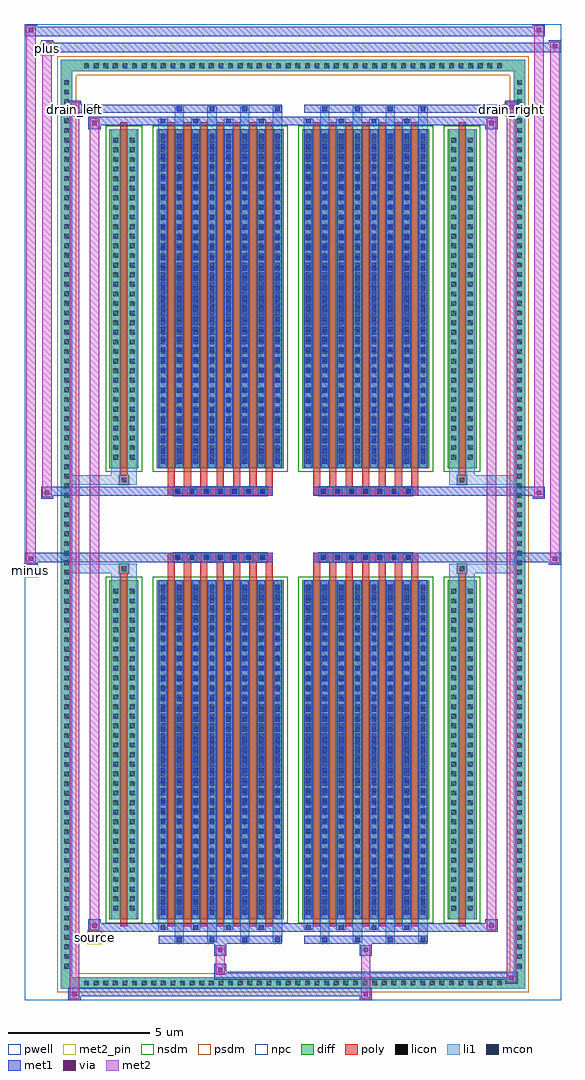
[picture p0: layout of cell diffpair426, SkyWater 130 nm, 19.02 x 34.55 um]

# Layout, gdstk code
import gdstk
lib = gdstk.Library(unit=1e-6, precision=5e-09)
def R(c, l, rs):  # rectangles x0, y0, x1, y1
    for r in rs: c.add(gdstk.rectangle(r[:2], r[2:], *l))
def A(c, l, x, y, w, h, nx, ny, dx, dy):  # array of equal rectangles
    R(c, l, [(x+i*dx, y+j*dy, x+i*dx+w, y+j*dy+h) for i in range(nx) for j in range(ny)])
def P(c, l, *ps):  # polygons
    for p in ps: c.add(gdstk.Polygon(p, *l))
pwell = (64, 44)
diff = (65, 20)
poly = (66, 20)
licon = (66, 44)
li1 = (67, 20)
mcon = (67, 44)
met1 = (68, 20)
via = (68, 44)
met2_pin = (69, 16)
met2 = (69, 20)
nsdm = (93, 44)
psdm = (94, 20)
npc = (95, 20)

diffpair426 = lib.new_cell('diffpair426')
R(diffpair426, pwell, [(-9.49,-16.84,9.49,17.71), (-6.81,-15.03,-0.01,-0.805), (0.01,-15.03,6.81,-0.805), (-6.81,0.805,-0.01,15.03), (0.01,0.805,6.81,15.03)])
A(diffpair426, diff, -7.515, -16.44, 0.41, 0.41, 44, 2, 0.34, 32.47)
A(diffpair426, diff, -8.22, -15.845, 0.41, 0.41, 1, 93, 0, 0.34)
A(diffpair426, diff, 7.81, -15.845, 0.41, 0.41, 1, 93, 0, 0.34)
R(diffpair426, diff, [(-7.515,-16.44,7.515,-16.03), (-8.22,-15.845,-7.81,15.845), (7.81,-15.845,8.22,15.845), (-6.5,-13.985,-5.47,-1.985), (-4.83,-13.985,-0.32,-1.985), (0.32,-13.985,4.83,-1.985), (5.47,-13.985,6.5,-1.985), (-6.5,1.985,-5.47,13.985), (-4.83,1.985,-0.32,13.985), (0.32,1.985,4.83,13.985), (5.47,1.985,6.5,13.985), (-7.515,16.03,7.515,16.44)])
P(diffpair426, diff, [(8.22,16.44),(-8.22,16.44),(-8.22,-16.03),(-7.81,-16.03),(-7.81,16.03),(7.81,16.03),(7.81,-16.03),(-7.81,-16.03),(-8.22,-16.03),(-8.22,-16.44),(8.22,-16.44)])
A(diffpair426, poly, -4.44, -14.235, 0.25, 12.5, 7, 2, 0.58, 15.97)
A(diffpair426, poly, 0.71, -14.235, 0.25, 12.5, 7, 2, 0.58, 15.97)
A(diffpair426, poly, -4.44, -1.735, 0.25, 0.4, 7, 2, 0.58, 3.07)
A(diffpair426, poly, 0.71, -1.735, 0.25, 0.4, 7, 2, 0.58, 3.07)
A(diffpair426, poly, -4.24, -1.335, 0.33, 0.33, 7, 2, 0.5, 2.34)
A(diffpair426, poly, 0.91, -1.335, 0.33, 0.33, 7, 2, 0.5, 2.34)
R(diffpair426, poly, [(-6.11,-14.235,-5.86,-1.735), (5.86,-14.235,6.11,-1.735), (-6.15,-1.735,-5.82,-1.405), (-6.15,-1.735,-5.82,-1.405), (5.82,-1.735,6.15,-1.405), (5.82,-1.735,6.15,-1.405), (-4.44,-1.335,-0.71,-1.005), (0.71,-1.335,4.44,-1.005), (-4.44,1.005,-0.71,1.335), (0.71,1.005,4.44,1.335), (-6.15,1.405,-5.82,1.735), (-6.15,1.405,-5.82,1.735), (5.82,1.405,6.15,1.735), (5.82,1.405,6.15,1.735), (-6.11,1.735,-5.86,14.235), (5.86,1.735,6.11,14.235)])
A(diffpair426, licon, -7.395, -16.32, 0.17, 0.17, 44, 2, 0.34, 32.47)
A(diffpair426, licon, -8.1, -15.725, 0.17, 0.17, 1, 93, 0, 0.34)
A(diffpair426, licon, 7.93, -15.725, 0.17, 0.17, 1, 93, 0, 0.34)
A(diffpair426, licon, -6.36, -13.68, 0.17, 0.17, 1, 34, 0, 0.34)
A(diffpair426, licon, -5.78, -13.68, 0.17, 0.17, 1, 34, 0, 0.34)
A(diffpair426, licon, -4.69, -13.68, 0.17, 0.17, 8, 34, 0.58, 0.34)
A(diffpair426, licon, 0.46, -13.68, 0.17, 0.17, 8, 34, 0.58, 0.34)
A(diffpair426, licon, 5.61, -13.68, 0.17, 0.17, 1, 34, 0, 0.34)
A(diffpair426, licon, 6.19, -13.68, 0.17, 0.17, 1, 34, 0, 0.34)
A(diffpair426, licon, -4.16, -1.255, 0.17, 0.17, 7, 2, 0.5, 2.34)
A(diffpair426, licon, 0.99, -1.255, 0.17, 0.17, 7, 2, 0.5, 2.34)
A(diffpair426, licon, -6.36, 2.29, 0.17, 0.17, 1, 34, 0, 0.34)
A(diffpair426, licon, -5.78, 2.29, 0.17, 0.17, 1, 34, 0, 0.34)
A(diffpair426, licon, -4.69, 2.29, 0.17, 0.17, 8, 34, 0.58, 0.34)
A(diffpair426, licon, 0.46, 2.29, 0.17, 0.17, 8, 34, 0.58, 0.34)
A(diffpair426, licon, 5.61, 2.29, 0.17, 0.17, 1, 34, 0, 0.34)
A(diffpair426, licon, 6.19, 2.29, 0.17, 0.17, 1, 34, 0, 0.34)
R(diffpair426, licon, [(-6.07,-1.655,-5.9,-1.485), (5.9,-1.655,6.07,-1.485), (-6.07,1.485,-5.9,1.655), (5.9,1.485,6.07,1.655)])
A(diffpair426, li1, -7.475, -16.4, 0.33, 0.33, 44, 2, 0.34, 32.47)
A(diffpair426, li1, -8.18, -15.805, 0.33, 0.33, 1, 93, 0, 0.34)
A(diffpair426, li1, 7.85, -15.805, 0.33, 0.33, 1, 93, 0, 0.34)
A(diffpair426, li1, -4.19, -14.79, 0.33, 0.805, 4, 2, 1.16, 28.775)
A(diffpair426, li1, -4.11, -14.79, 0.17, 0.17, 4, 2, 1.16, 29.41)
A(diffpair426, li1, 0.96, -14.79, 0.33, 0.805, 4, 2, 1.16, 28.775)
A(diffpair426, li1, 1.04, -14.79, 0.17, 0.17, 4, 2, 1.16, 29.41)
A(diffpair426, li1, -4.77, -14.36, 0.33, 0.375, 4, 2, 1.16, 28.345)
A(diffpair426, li1, -4.69, -14.36, 0.17, 0.17, 4, 2, 1.16, 28.55)
A(diffpair426, li1, 0.38, -14.36, 0.33, 0.375, 4, 2, 1.16, 28.345)
A(diffpair426, li1, 0.46, -14.36, 0.17, 0.17, 4, 2, 1.16, 28.55)
A(diffpair426, li1, -4.77, -13.985, 0.33, 12, 8, 2, 0.58, 15.97)
A(diffpair426, li1, 0.38, -13.985, 0.33, 12, 8, 2, 0.58, 15.97)
A(diffpair426, li1, -4.69, -13.83, 0.17, 0.17, 8, 33, 0.58, 0.36)
A(diffpair426, li1, -4.69, -13.83, 0.17, 11.69, 8, 2, 0.58, 15.97)
A(diffpair426, li1, 0.46, -13.83, 0.17, 0.17, 8, 33, 0.58, 0.36)
A(diffpair426, li1, 0.46, -13.83, 0.17, 11.69, 8, 2, 0.58, 15.97)
A(diffpair426, li1, -6.44, -13.76, 0.33, 0.33, 1, 34, 0, 0.34)
A(diffpair426, li1, -5.86, -13.76, 0.33, 0.33, 1, 34, 0, 0.34)
A(diffpair426, li1, -4.77, -13.76, 0.33, 0.33, 8, 34, 0.58, 0.34)
A(diffpair426, li1, 0.38, -13.76, 0.33, 0.33, 8, 34, 0.58, 0.34)
A(diffpair426, li1, 5.53, -13.76, 0.33, 0.33, 1, 34, 0, 0.34)
A(diffpair426, li1, 6.11, -13.76, 0.33, 0.33, 1, 34, 0, 0.34)
A(diffpair426, li1, -4.24, -1.335, 0.33, 0.33, 7, 2, 0.5, 2.34)
A(diffpair426, li1, 0.91, -1.335, 0.33, 0.33, 7, 2, 0.5, 2.34)
A(diffpair426, li1, -4.69, 2.14, 0.17, 0.17, 8, 33, 0.58, 0.36)
A(diffpair426, li1, 0.46, 2.14, 0.17, 0.17, 8, 33, 0.58, 0.36)
A(diffpair426, li1, -6.44, 2.21, 0.33, 0.33, 1, 34, 0, 0.34)
A(diffpair426, li1, -5.86, 2.21, 0.33, 0.33, 1, 34, 0, 0.34)
A(diffpair426, li1, -4.77, 2.21, 0.33, 0.33, 8, 34, 0.58, 0.34)
A(diffpair426, li1, 0.38, 2.21, 0.33, 0.33, 8, 34, 0.58, 0.34)
A(diffpair426, li1, 5.53, 2.21, 0.33, 0.33, 1, 34, 0, 0.34)
A(diffpair426, li1, 6.11, 2.21, 0.33, 0.33, 1, 34, 0, 0.34)
R(diffpair426, li1, [(-8.22,-16.44,-7.81,-16.03), (-8.22,-16.44,-7.81,-16.03), (-7.81,-16.44,7.81,-16.03), (7.81,-16.44,8.22,-16.03), (7.81,-16.44,8.22,-16.03), (-8.22,-16.03,-7.81,16.03), (7.81,-16.03,8.22,16.03), (-6.44,-13.985,-6.11,-1.985), (-5.86,-13.985,-5.53,-1.985), (5.53,-13.985,5.86,-1.985), (6.11,-13.985,6.44,-1.985), (-6.44,-1.985,-6.11,-1.405), (-5.86,-1.985,-5.53,-1.405), (5.53,-1.985,5.86,-1.405), (6.11,-1.985,6.44,-1.405), (-8.22,-1.735,-6.15,-1.405), (-6.44,-1.735,-6.15,-1.405), (-6.15,-1.735,-5.82,-1.405), (-5.82,-1.735,-5.53,-1.405), (5.53,-1.735,5.82,-1.405), (5.82,-1.735,6.15,-1.405), (5.82,-1.735,8.22,-1.405), (6.15,-1.735,6.44,-1.405), (-8.22,1.405,-6.15,1.735), (-6.44,1.405,-6.15,1.735), (-6.44,1.405,-6.11,1.985), (-6.15,1.405,-5.82,1.735), (-5.86,1.405,-5.53,1.985), (-5.82,1.405,-5.53,1.735), (5.53,1.405,5.82,1.735), (5.53,1.405,5.86,1.985), (5.82,1.405,6.15,1.735), (5.82,1.405,8.22,1.735), (6.11,1.405,6.44,1.985), (6.15,1.405,6.44,1.735), (-6.44,1.985,-6.11,13.985), (-5.86,1.985,-5.53,13.985), (5.53,1.985,5.86,13.985), (6.11,1.985,6.44,13.985), (-8.22,16.03,-7.81,16.44), (-8.22,16.03,-7.81,16.44), (-7.81,16.03,7.81,16.44), (7.81,16.03,8.22,16.44), (7.81,16.03,8.22,16.44)])
A(diffpair426, mcon, -4.11, -14.79, 0.17, 0.17, 4, 2, 1.16, 29.41)
A(diffpair426, mcon, 1.04, -14.79, 0.17, 0.17, 4, 2, 1.16, 29.41)
A(diffpair426, mcon, -4.69, -14.36, 0.17, 0.17, 4, 2, 1.16, 28.55)
A(diffpair426, mcon, 0.46, -14.36, 0.17, 0.17, 4, 2, 1.16, 28.55)
A(diffpair426, mcon, -4.69, -13.83, 0.17, 0.17, 8, 33, 0.58, 0.36)
A(diffpair426, mcon, 0.46, -13.83, 0.17, 0.17, 8, 33, 0.58, 0.36)
A(diffpair426, mcon, -4.16, -1.255, 0.17, 0.17, 7, 2, 0.5, 2.34)
A(diffpair426, mcon, 0.99, -1.255, 0.17, 0.17, 7, 2, 0.5, 2.34)
A(diffpair426, mcon, -4.69, 2.14, 0.17, 0.17, 8, 33, 0.58, 0.36)
A(diffpair426, mcon, 0.46, 2.14, 0.17, 0.17, 8, 33, 0.58, 0.36)
A(diffpair426, met1, -4.17, -14.85, 0.29, 0.29, 4, 2, 1.16, 29.41)
A(diffpair426, met1, 0.98, -14.85, 0.29, 0.29, 4, 2, 1.16, 29.41)
A(diffpair426, met1, -4.75, -14.42, 0.29, 0.29, 4, 2, 1.16, 28.55)
A(diffpair426, met1, 0.4, -14.42, 0.29, 0.29, 4, 2, 1.16, 28.55)
A(diffpair426, met1, -4.75, -13.985, 0.29, 12, 8, 2, 0.58, 15.97)
A(diffpair426, met1, 0.4, -13.985, 0.29, 12, 8, 2, 0.58, 15.97)
A(diffpair426, met1, -4.75, -13.89, 0.29, 0.29, 8, 33, 0.58, 0.36)
A(diffpair426, met1, 0.4, -13.89, 0.29, 0.29, 8, 33, 0.58, 0.36)
A(diffpair426, met1, -4.22, -1.315, 0.29, 0.29, 7, 2, 0.5, 2.34)
A(diffpair426, met1, 0.93, -1.315, 0.29, 0.29, 7, 2, 0.5, 2.34)
A(diffpair426, met1, -4.75, 2.08, 0.29, 0.29, 8, 33, 0.58, 0.36)
A(diffpair426, met1, 0.4, 2.08, 0.29, 0.29, 8, 33, 0.58, 0.36)
R(diffpair426, met1, [(-7.95,-16.84,-7.52,-16.41), (2.36,-16.84,2.79,-16.41), (-7.95,-16.7,2.79,-16.41), (7.52,-16.27,7.95,-15.84), (-2.79,-16.13,7.95,-15.84), (-2.79,-15.99,-2.36,-15.56), (-2.79,-15.28,-2.36,-14.85), (2.36,-15.28,2.79,-14.85), (-4.75,-14.85,-0.4,-14.56), (0.4,-14.85,4.75,-14.56), (-7.24,-14.42,-6.81,-13.99), (-7.24,-14.42,-4.75,-14.13), (-4.75,-14.42,-0.4,-14.13), (-0.4,-14.42,0.4,-14.13), (0.4,-14.42,4.75,-14.13), (4.75,-14.42,7.24,-14.13), (6.81,-14.42,7.24,-13.99), (-9.49,-1.435,-9.06,-1.005), (9.06,-1.435,9.49,-1.005), (-9.49,-1.335,-0.71,-1.005), (-4.44,-1.335,-0.71,-1.005), (0.71,-1.335,4.44,-1.005), (0.71,-1.335,9.49,-1.005), (-8.92,0.905,-8.49,1.335), (8.49,0.905,8.92,1.335), (-8.92,1.005,-4.44,1.335), (-4.44,1.005,-0.71,1.335), (0.71,1.005,4.44,1.335), (4.44,1.005,8.92,1.335), (-7.24,13.99,-6.81,14.42), (6.81,13.99,7.24,14.42), (-7.24,14.13,-4.75,14.42), (-4.75,14.13,-0.4,14.42), (-0.4,14.13,0.4,14.42), (0.4,14.13,4.75,14.42), (4.75,14.13,7.24,14.42), (-7.95,14.56,-7.52,14.99), (-7.95,14.56,-4.75,14.85), (-4.75,14.56,-0.4,14.85), (0.4,14.56,4.75,14.85), (4.75,14.56,7.95,14.85), (7.52,14.56,7.95,14.99), (-8.92,16.71,-8.49,17.14), (-8.92,16.71,-6.81,17.04), (-6.81,16.71,6.81,17.04), (6.81,16.71,9.49,17.04), (9.06,16.71,9.49,17.14), (-9.49,17.28,-9.06,17.71), (-9.49,17.28,-6.81,17.61), (-6.81,17.28,6.81,17.61), (6.81,17.28,8.92,17.61), (8.49,17.28,8.92,17.71)])
R(diffpair426, via, [(-7.81,-16.7,-7.66,-16.55), (2.5,-16.7,2.65,-16.55), (7.66,-16.13,7.81,-15.98), (-2.65,-15.85,-2.5,-15.7), (-2.65,-15.14,-2.5,-14.99), (2.5,-15.14,2.65,-14.99), (-7.1,-14.28,-6.95,-14.13), (6.95,-14.28,7.1,-14.13), (-9.35,-1.295,-9.2,-1.145), (9.2,-1.295,9.35,-1.145), (-8.78,1.045,-8.63,1.195), (8.63,1.045,8.78,1.195), (-7.1,14.13,-6.95,14.28), (6.95,14.13,7.1,14.28), (-7.81,14.7,-7.66,14.85), (7.66,14.7,7.81,14.85), (-8.78,16.85,-8.63,17), (9.2,16.85,9.35,17), (-9.35,17.42,-9.2,17.57), (8.63,17.42,8.78,17.57)])
R(diffpair426, met2_pin, [(-7.275,-14.87,-6.775,-14.37), (-9.525,-1.885,-9.025,-1.385), (-7.985,14.44,-7.485,14.94), (7.485,14.44,7.985,14.94), (-8.955,16.59,-8.455,17.09)])
R(diffpair426, met2, [(-7.9,-16.79,-7.57,-16.46), (-7.9,-16.79,-7.57,14.94), (2.41,-16.79,2.74,-16.46), (2.41,-16.46,2.74,-15.23), (7.57,-16.22,7.9,-15.89), (7.57,-16.22,7.9,14.94), (-2.74,-15.94,-2.41,-15.61), (-2.74,-15.61,-2.41,-15.23), (-2.74,-15.23,-2.41,-14.9), (2.41,-15.23,2.74,-14.9), (-7.19,-14.37,-6.86,-14.04), (-7.19,-14.37,-6.86,14.37), (6.86,-14.37,7.19,-14.04), (6.86,-14.37,7.19,14.37), (-9.44,-1.385,-9.11,-1.055), (-9.44,-1.385,-9.11,17.66), (9.11,-1.385,9.44,-1.055), (9.11,-1.385,9.44,17.09), (-8.87,0.955,-8.54,1.285), (-8.87,0.955,-8.54,17.09), (8.54,0.955,8.87,1.285), (8.54,0.955,8.87,17.66), (-7.19,14.04,-6.86,14.37), (6.86,14.04,7.19,14.37), (-7.9,14.61,-7.57,14.94), (7.57,14.61,7.9,14.94), (-8.87,16.76,-8.54,17.09), (9.11,16.76,9.44,17.09), (-9.44,17.33,-9.11,17.66), (8.54,17.33,8.87,17.66)])
P(diffpair426, met2, [(9.44,-1.385),(9.44,-1.385),(9.44,-1.055),(9.44,-1.055)],
  [(9.44,16.76),(9.44,16.76),(9.44,17.09),(9.44,17.09)],
  [(-9.11,-1.385),(-9.11,-1.385),(-9.11,-1.055),(-9.11,-1.055)],
  [(-9.11,17.33),(-9.11,17.33),(-9.11,17.66),(-9.11,17.66)],
  [(8.87,0.955),(8.87,0.955),(8.87,1.285),(8.87,1.285)],
  [(8.87,17.33),(8.87,17.33),(8.87,17.66),(8.87,17.66)],
  [(-8.54,0.955),(-8.54,0.955),(-8.54,1.285),(-8.54,1.285)],
  [(-8.54,16.76),(-8.54,16.76),(-8.54,17.09),(-8.54,17.09)],
  [(-7.57,-16.79),(-7.57,-16.79),(-7.57,-16.46),(-7.57,-16.46)],
  [(-7.57,14.61),(-7.57,14.61),(-7.57,14.94),(-7.57,14.94)],
  [(7.9,-16.22),(7.9,-16.22),(7.9,-15.89),(7.9,-15.89)],
  [(7.9,14.61),(7.9,14.61),(7.9,14.94),(7.9,14.94)],
  [(-6.86,-14.37),(-6.86,-14.37),(-6.86,-14.04),(-6.86,-14.04)],
  [(-6.86,14.04),(-6.86,14.04),(-6.86,14.37),(-6.86,14.37)],
  [(7.19,-14.37),(7.19,-14.37),(7.19,-14.04),(7.19,-14.04)],
  [(7.19,14.04),(7.19,14.04),(7.19,14.37),(7.19,14.37)])
R(diffpair426, nsdm, [(-6.63,-14.115,-5.34,-1.855), (-4.96,-14.115,-0.19,-1.855), (0.19,-14.115,4.96,-1.855), (5.34,-14.115,6.63,-1.855), (-6.63,1.855,-5.34,14.115), (-4.96,1.855,-0.19,14.115), (0.19,1.855,4.96,14.115), (5.34,1.855,6.63,14.115)])
P(diffpair426, psdm, [(8.35,16.57),(-8.35,16.57),(-8.35,-15.9),(-7.68,-15.9),(-7.68,15.9),(7.68,15.9),(7.68,-15.9),(-7.68,-15.9),(-8.35,-15.9),(-8.35,-16.57),(8.35,-16.57)])
A(diffpair426, npc, -4.26, -1.355, 0.37, 0.37, 7, 2, 0.5, 2.34)
A(diffpair426, npc, 0.89, -1.355, 0.37, 0.37, 7, 2, 0.5, 2.34)
R(diffpair426, npc, [(-6.17,-1.755,-5.8,-1.385), (5.8,-1.755,6.17,-1.385), (-4.26,-1.355,-3.39,-0.985), (-4.26,-1.355,-3.39,-0.985), (-3.76,-1.355,-2.89,-0.985), (-3.76,-1.355,-2.89,-0.985), (-3.26,-1.355,-2.39,-0.985), (-3.26,-1.355,-2.39,-0.985), (-2.76,-1.355,-1.89,-0.985), (-2.76,-1.355,-1.89,-0.985), (-2.26,-1.355,-1.39,-0.985), (-2.26,-1.355,-1.39,-0.985), (-1.76,-1.355,-0.89,-0.985), (-1.76,-1.355,-0.89,-0.985), (0.89,-1.355,1.76,-0.985), (0.89,-1.355,1.76,-0.985), (1.39,-1.355,2.26,-0.985), (1.39,-1.355,2.26,-0.985), (1.89,-1.355,2.76,-0.985), (1.89,-1.355,2.76,-0.985), (2.39,-1.355,3.26,-0.985), (2.39,-1.355,3.26,-0.985), (2.89,-1.355,3.76,-0.985), (2.89,-1.355,3.76,-0.985), (3.39,-1.355,4.26,-0.985), (3.39,-1.355,4.26,-0.985), (-4.26,0.985,-3.39,1.355), (-4.26,0.985,-3.39,1.355), (-3.76,0.985,-2.89,1.355), (-3.76,0.985,-2.89,1.355), (-3.26,0.985,-2.39,1.355), (-3.26,0.985,-2.39,1.355), (-2.76,0.985,-1.89,1.355), (-2.76,0.985,-1.89,1.355), (-2.26,0.985,-1.39,1.355), (-2.26,0.985,-1.39,1.355), (-1.76,0.985,-0.89,1.355), (-1.76,0.985,-0.89,1.355), (0.89,0.985,1.76,1.355), (0.89,0.985,1.76,1.355), (1.39,0.985,2.26,1.355), (1.39,0.985,2.26,1.355), (1.89,0.985,2.76,1.355), (1.89,0.985,2.76,1.355), (2.39,0.985,3.26,1.355), (2.39,0.985,3.26,1.355), (2.89,0.985,3.76,1.355), (2.89,0.985,3.76,1.355), (3.39,0.985,4.26,1.355), (3.39,0.985,4.26,1.355), (-6.17,1.385,-5.8,1.755), (5.8,1.385,6.17,1.755)])
diffpair426.add(gdstk.Label('minus', (-9.275,-1.635), layer=69, texttype=5))
diffpair426.add(gdstk.Label('drain_right', (7.735,14.69), layer=69, texttype=5))
diffpair426.add(gdstk.Label('drain_left', (-7.735,14.69), layer=69, texttype=5))
diffpair426.add(gdstk.Label('source', (-7.025,-14.62), layer=69, texttype=5))
diffpair426.add(gdstk.Label('plus', (-8.705,16.84), layer=69, texttype=5))

lib.write_gds('diffpair426.gds')
